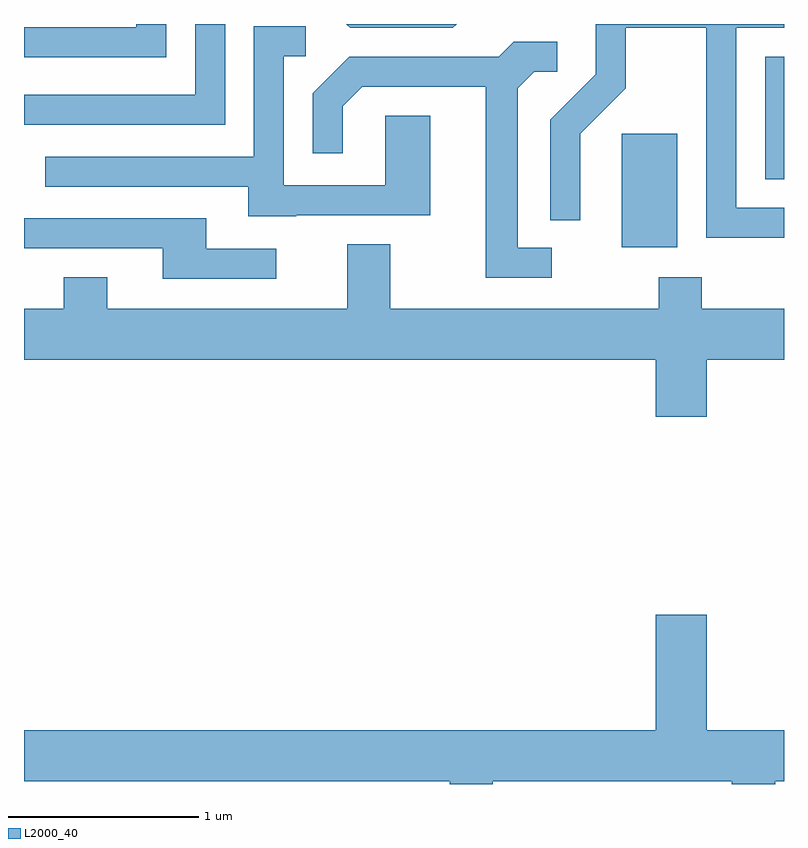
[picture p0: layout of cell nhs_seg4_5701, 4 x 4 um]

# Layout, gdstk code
import gdstk
lib = gdstk.Library(unit=1e-6, precision=1e-09)
def R(c, l, rs):  # rectangles x0, y0, x1, y1
    for r in rs: c.add(gdstk.rectangle(r[:2], r[2:], *l))
def P(c, l, *ps):  # polygons
    for p in ps: c.add(gdstk.Polygon(p, *l))
L2000_40 = (2000, 40)

nhs_seg4_5701 = lib.new_cell('nhs_seg4_5701')
R(nhs_seg4_5701, L2000_40, [(354.756,1370.806,355.049,1371.404), (355.511,1371.166,355.611,1371.809)])
P(nhs_seg4_5701, L2000_40, [(352.359,1371.982),(352.201,1371.982),(352.201,1371.964),(351.611,1371.964),(351.611,1371.806),(352.359,1371.806)],
  [(352.669,1371.982),(352.511,1371.982),(352.511,1371.609),(351.611,1371.609),(351.611,1371.451),(352.669,1371.451)],
  [(353.888,1371.982),(353.308,1371.982),(353.329,1371.961),(353.867,1371.961)],
  [(355.611,1371.014),(355.359,1371.014),(355.359,1371.961),(355.611,1371.961),(355.611,1371.982),(354.621,1371.982),(354.621,1371.717),(354.381,1371.477),(354.381,1370.948),(354.539,1370.948),(354.539,1371.404),(354.779,1371.644),(354.779,1371.961),(355.201,1371.961),(355.201,1370.856),(355.611,1370.856)],
  [(353.045,1370.976),(353.749,1370.976),(353.749,1371.499),(353.511,1371.499),(353.511,1371.134),(352.979,1371.134),(352.979,1371.811),(353.093,1371.811),(353.093,1371.969),(352.821,1371.969),(352.821,1371.284),(351.723,1371.284),(351.723,1371.126),(352.791,1371.126),(352.791,1370.971),(353.045,1370.971)],
  [(354.388,1370.804),(354.209,1370.804),(354.209,1371.644),(354.297,1371.731),(354.418,1371.731),(354.418,1371.889),(354.189,1371.889),(354.109,1371.809),(353.324,1371.809),(353.131,1371.617),(353.131,1371.303),(353.289,1371.303),(353.289,1371.549),(353.392,1371.651),(354.041,1371.651),(354.041,1370.646),(354.388,1370.646)],
  [(352.938,1370.799),(352.569,1370.799),(352.569,1370.959),(351.611,1370.959),(351.611,1370.801),(352.341,1370.801),(352.341,1370.641),(352.938,1370.641)],
  [(354.951,1370.649),(354.951,1370.484),(353.539,1370.484),(353.539,1370.824),(353.311,1370.824),(353.311,1370.484),(352.049,1370.484),(352.049,1370.649),(351.821,1370.649),(351.821,1370.484),(351.611,1370.484),(351.611,1370.216),(354.936,1370.216),(354.936,1369.916),(355.204,1369.916),(355.204,1370.216),(355.611,1370.216),(355.611,1370.484),(355.179,1370.484),(355.179,1370.649)],
  [(354.079,1367.996),(355.336,1367.996),(355.336,1367.982),(355.564,1367.982),(355.564,1367.996),(355.611,1367.996),(355.611,1368.264),(355.204,1368.264),(355.204,1368.874),(354.936,1368.874),(354.936,1368.264),(351.611,1368.264),(351.611,1367.996),(353.851,1367.996),(353.851,1367.982),(354.079,1367.982)])

lib.write_gds('nhs_seg4_5701.gds')
